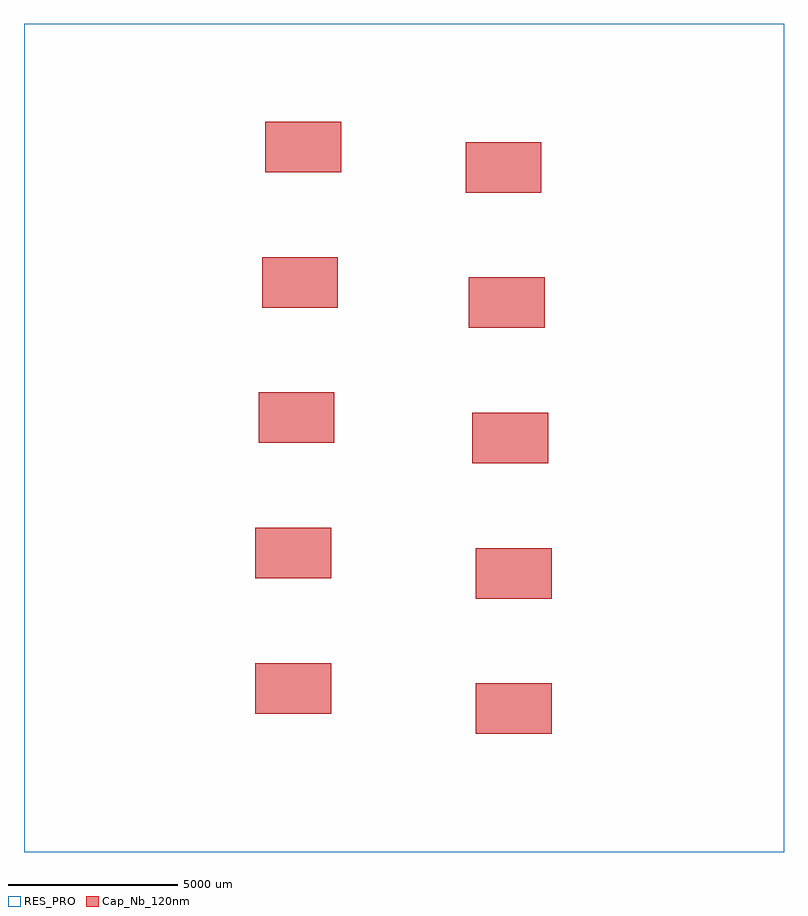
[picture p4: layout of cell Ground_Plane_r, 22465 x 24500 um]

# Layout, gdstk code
import gdstk
lib = gdstk.Library(unit=1e-6, precision=1e-09)
def R(c, l, rs):  # rectangles x0, y0, x1, y1
    for r in rs: c.add(gdstk.rectangle(r[:2], r[2:], *l))
Cap_Nb_120nm = (6, 0)
RES_PRO = (10, 0)

ground_plane_r = lib.new_cell('Ground_Plane_r')
R(ground_plane_r, Cap_Nb_120nm, [(2419.002,-8670.87,4661.002,-7177.87), (-4096.998,-8071.371,-1854.998,-6578.371), (2419.002,-4670.87,4661.002,-3177.87), (-4096.998,-4071.371,-1854.998,-2578.371), (2319.002,-670.87,4561.002,822.13), (-3996.998,-71.371,-1754.998,1421.629), (2219.002,3329.13,4461.002,4822.13), (-3896.998,3928.629,-1654.998,5421.629), (2119.002,7329.13,4361.002,8822.13), (-3796.998,7928.629,-1554.998,9421.629)])
R(ground_plane_r, RES_PRO, [(-10933.042,-12174.801,11531.958,12325.199), (-10933.042,-12174.801,11531.958,12325.199)])

lib.write_gds('Ground_Plane_r.gds')
